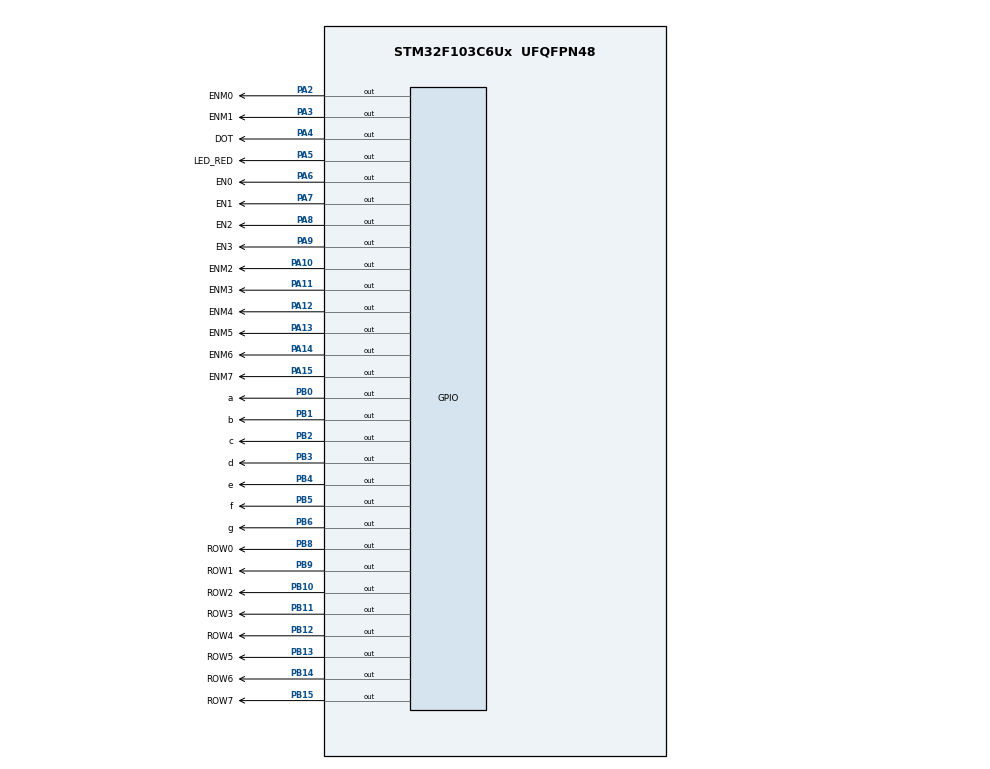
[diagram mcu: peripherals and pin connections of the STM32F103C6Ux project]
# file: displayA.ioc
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Mcu.Family=STM32F1
Mcu.Name=STM32F103C6Ux
Mcu.Package=UFQFPN48
NVIC.PriorityGroup=NVIC_PRIORITYGROUP_4
NVIC.TIM2_IRQn=true\:0\:0\:false\:false\:true\:true\:true
PA10.GPIO_Label=ENM2
PA10.Signal=GPIO_Output
PA11.GPIO_Label=ENM3
PA11.Signal=GPIO_Output
PA12.GPIO_Label=ENM4
PA12.Signal=GPIO_Output
PA13.GPIO_Label=ENM5
PA13.Signal=GPIO_Output
PA14.GPIO_Label=ENM6
PA14.Signal=GPIO_Output
PA15.GPIO_Label=ENM7
PA15.Signal=GPIO_Output
PA2.GPIO_Label=ENM0
PA2.Signal=GPIO_Output
PA3.GPIO_Label=ENM1
PA3.Signal=GPIO_Output
PA4.GPIO_Label=DOT
PA4.Signal=GPIO_Output
PA5.GPIO_Label=LED_RED
PA5.Signal=GPIO_Output
PA6.GPIO_Label=EN0
PA6.Signal=GPIO_Output
PA7.GPIO_Label=EN1
PA7.Signal=GPIO_Output
PA8.GPIO_Label=EN2
PA8.Signal=GPIO_Output
PA9.GPIO_Label=EN3
PA9.Signal=GPIO_Output
PB0.GPIO_Label=a
PB0.Signal=GPIO_Output
PB1.GPIO_Label=b
PB1.Signal=GPIO_Output
PB10.GPIO_Label=ROW2
PB10.Signal=GPIO_Output
PB11.GPIO_Label=ROW3
PB11.Signal=GPIO_Output
PB12.GPIO_Label=ROW4
PB12.Signal=GPIO_Output
PB13.GPIO_Label=ROW5
PB13.Signal=GPIO_Output
PB14.GPIO_Label=ROW6
PB14.Signal=GPIO_Output
PB15.GPIO_Label=ROW7
PB15.Signal=GPIO_Output
PB2.GPIO_Label=c
PB2.Signal=GPIO_Output
PB3.GPIO_Label=d
PB3.Signal=GPIO_Output
PB4.GPIO_Label=e
PB4.Signal=GPIO_Output
PB5.GPIO_Label=f
PB5.Signal=GPIO_Output
PB6.GPIO_Label=g
PB6.Signal=GPIO_Output
PB8.GPIO_Label=ROW0
PB8.Signal=GPIO_Output
PB9.GPIO_Label=ROW1
PB9.Signal=GPIO_Output
ProjectManager.HeapSize=0x200
ProjectManager.StackSize=0x400
ProjectManager.TargetToolchain=STM32CubeIDE
RCC.APB1Freq_Value=8000000
RCC.APB2Freq_Value=8000000
TIM2.Period=9
TIM2.Prescaler=7999
VP_SYS_VS_ND.Mode=No_Debug
VP_TIM2_VS_ClockSourceINT.Mode=Internal
board=custom

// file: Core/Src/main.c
/* USER CODE BEGIN Header */
/**
  ******************************************************************************
  * @file           : main.c
  * @brief          : Main program body
  ******************************************************************************
  * @attention
  *
  * <h2><center>&copy; Copyright (c) 2022 STMicroelectronics.
  * All rights reserved.</center></h2>
  *
  * This software component is licensed by ST under BSD 3-Clause license,
  * the "License"; You may not use this file except in compliance with the
  * License. You may obtain a copy of the License at:
  *                        opensource.org/licenses/BSD-3-Clause
  *
  ******************************************************************************
  */
/* USER CODE END Header */
#include "main.h"

TIM_HandleTypeDef htim2;

void SystemClock_Config(void);
static void MX_GPIO_Init(void);
static void MX_TIM2_Init(void);

/* USER CODE BEGIN 0 */
int hour = 23 , minute = 59 , second = 50;

int timer0_counter = 0;
int timer0_flag = 0;
int TIMER_CYCLE = 10;
void setTimer0(int duration){
	timer0_counter = duration / TIMER_CYCLE ;
	timer0_flag = 0;
}
void timer_run(){
	if(timer0_counter > 0) {
			timer0_counter--;
			if( timer0_counter == 0) timer0_flag = 1;
	}
}

int timer1_counter = 0;
int timer1_flag = 0;

void setTimer1(int duration){
	timer1_counter = duration / TIMER_CYCLE ;
	timer1_flag = 0;
}
void timer_run1(){
	if(timer1_counter > 0) {
			timer1_counter--;
			if( timer1_counter == 0) timer1_flag = 1;
	}
}
/* USER CODE END 0 */

int main(void)
{

  /* MCU Configuration--------------------------------------------------------*/

  /* Reset of all peripherals, Initializes the Flash interface and the Systick. */
  HAL_Init();

  /* Configure the system clock */
  SystemClock_Config();

  /* Initialize all configured peripherals */
  MX_GPIO_Init();
  MX_TIM2_Init();
  /* USER CODE BEGIN 2 */
  HAL_TIM_Base_Start_IT(&htim2);
    void display7segment(int num);
    void update7SEG(int index);
    void updateClockBuffer();
    void updateLEDMatrix(int index);
	void displayLedMatrix(int num);
	void updateMatrixBuffer();
  /* USER CODE END 2 */

  /* Infinite loop */
  /* USER CODE BEGIN WHILE */
    int index_led_matrix = 0;
//    int index_led = 0;
      setTimer0(1000);
      setTimer1(125);
  while (1)
  {
    /* USER CODE END WHILE */

    /* USER CODE BEGIN 3 */
	  if (timer0_flag == 1){
//	  		  HAL_GPIO_TogglePin(DOT_GPIO_Port, DOT_Pin);
//	  		  second++;
//	  		  if (second >= 60){
//	  			  second = 0;
//	  			  minute++;
//	  		   }
//	  		   if(minute >= 60){
//	  			   minute = 0;
//	  			   hour++;
//	  		   }
//	  		   if(hour >= 24){
//	  			   hour = 0;
//	  		   }
	  		  updateMatrixBuffer();
	  		  setTimer0(1000);
	  	  }
	  	  if (timer1_flag == 1){
//	  		  if (index_led >= 4) {
//	  				index_led = 0;
//	  				update7SEG(index_led++);
//	  		  } else {
//	  				update7SEG(index_led++);
//	  			}
	  		  if (index_led_matrix >= 8) {
					index_led_matrix = 0;
					updateLEDMatrix(index_led_matrix++);
			  } else {
					updateLEDMatrix(index_led_matrix++);
				}
	  		  setTimer1(125);
	  	  }
  }
  /* USER CODE END 3 */
}

void SystemClock_Config(void)
{
  RCC_OscInitTypeDef RCC_OscInitStruct = {0};
  RCC_ClkInitTypeDef RCC_ClkInitStruct = {0};

  /** Initializes the RCC Oscillators according to the specified parameters
  * in the RCC_OscInitTypeDef structure.
  */
  RCC_OscInitStruct.OscillatorType = RCC_OSCILLATORTYPE_HSI;
  RCC_OscInitStruct.HSIState = RCC_HSI_ON;
  RCC_OscInitStruct.HSICalibrationValue = RCC_HSICALIBRATION_DEFAULT;
  RCC_OscInitStruct.PLL.PLLState = RCC_PLL_NONE;
  if (HAL_RCC_OscConfig(&RCC_OscInitStruct) != HAL_OK)
  {
    Error_Handler();
  }
  /** Initializes the CPU, AHB and APB buses clocks
  */
  RCC_ClkInitStruct.ClockType = RCC_CLOCKTYPE_HCLK|RCC_CLOCKTYPE_SYSCLK
                              |RCC_CLOCKTYPE_PCLK1|RCC_CLOCKTYPE_PCLK2;
  RCC_ClkInitStruct.SYSCLKSource = RCC_SYSCLKSOURCE_HSI;
  RCC_ClkInitStruct.AHBCLKDivider = RCC_SYSCLK_DIV1;
  RCC_ClkInitStruct.APB1CLKDivider = RCC_HCLK_DIV1;
  RCC_ClkInitStruct.APB2CLKDivider = RCC_HCLK_DIV1;

  if (HAL_RCC_ClockConfig(&RCC_ClkInitStruct, FLASH_LATENCY_0) != HAL_OK)
  {
    Error_Handler();
  }
}

static void MX_TIM2_Init(void)
{

  TIM_ClockConfigTypeDef sClockSourceConfig = {0};
  TIM_MasterConfigTypeDef sMasterConfig = {0};

  htim2.Instance = TIM2;
  htim2.Init.Prescaler = 7999;
  htim2.Init.CounterMode = TIM_COUNTERMODE_UP;
  htim2.Init.Period = 9;
  htim2.Init.ClockDivision = TIM_CLOCKDIVISION_DIV1;
  htim2.Init.AutoReloadPreload = TIM_AUTORELOAD_PRELOAD_DISABLE;
  if (HAL_TIM_Base_Init(&htim2) != HAL_OK)
  {
    Error_Handler();
  }
  sClockSourceConfig.ClockSource = TIM_CLOCKSOURCE_INTERNAL;
  if (HAL_TIM_ConfigClockSource(&htim2, &sClockSourceConfig) != HAL_OK)
  {
    Error_Handler();
  }
  sMasterConfig.MasterOutputTrigger = TIM_TRGO_RESET;
  sMasterConfig.MasterSlaveMode = TIM_MASTERSLAVEMODE_DISABLE;
  if (HAL_TIMEx_MasterConfigSynchronization(&htim2, &sMasterConfig) != HAL_OK)
  {
    Error_Handler();
  }

}

static void MX_GPIO_Init(void)
{
  GPIO_InitTypeDef GPIO_InitStruct = {0};

  /* GPIO Ports Clock Enable */
  __HAL_RCC_GPIOA_CLK_ENABLE();
  __HAL_RCC_GPIOB_CLK_ENABLE();

  /*Configure GPIO pin Output Level */
  HAL_GPIO_WritePin(GPIOA, ENM0_Pin|ENM1_Pin|DOT_Pin|LED_RED_Pin
                          |EN0_Pin|EN1_Pin|EN2_Pin|EN3_Pin
                          |ENM2_Pin|ENM3_Pin|ENM4_Pin|ENM5_Pin
                          |ENM6_Pin|ENM7_Pin, GPIO_PIN_RESET);

  /*Configure GPIO pin Output Level */
  HAL_GPIO_WritePin(GPIOB, a_Pin|b_Pin|c_Pin|ROW2_Pin
                          |ROW3_Pin|ROW4_Pin|ROW5_Pin|ROW6_Pin
                          |ROW7_Pin|d_Pin|e_Pin|f_Pin
                          |g_Pin|ROW0_Pin|ROW1_Pin, GPIO_PIN_RESET);

  /*Configure GPIO pins : ENM0_Pin ENM1_Pin DOT_Pin LED_RED_Pin
                           EN0_Pin EN1_Pin EN2_Pin EN3_Pin
                           ENM2_Pin ENM3_Pin ENM4_Pin ENM5_Pin
                           ENM6_Pin ENM7_Pin */
  GPIO_InitStruct.Pin = ENM0_Pin|ENM1_Pin|DOT_Pin|LED_RED_Pin
                          |EN0_Pin|EN1_Pin|EN2_Pin|EN3_Pin
                          |ENM2_Pin|ENM3_Pin|ENM4_Pin|ENM5_Pin
                          |ENM6_Pin|ENM7_Pin;
  GPIO_InitStruct.Mode = GPIO_MODE_OUTPUT_PP;
  GPIO_InitStruct.Pull = GPIO_NOPULL;
  GPIO_InitStruct.Speed = GPIO_SPEED_FREQ_LOW;
  HAL_GPIO_Init(GPIOA, &GPIO_InitStruct);

  /*Configure GPIO pins : a_Pin b_Pin c_Pin ROW2_Pin
                           ROW3_Pin ROW4_Pin ROW5_Pin ROW6_Pin
                           ROW7_Pin d_Pin e_Pin f_Pin
                           g_Pin ROW0_Pin ROW1_Pin */
  GPIO_InitStruct.Pin = a_Pin|b_Pin|c_Pin|ROW2_Pin
                          |ROW3_Pin|ROW4_Pin|ROW5_Pin|ROW6_Pin
                          |ROW7_Pin|d_Pin|e_Pin|f_Pin
                          |g_Pin|ROW0_Pin|ROW1_Pin;
  GPIO_InitStruct.Mode = GPIO_MODE_OUTPUT_PP;
  GPIO_InitStruct.Pull = GPIO_NOPULL;
  GPIO_InitStruct.Speed = GPIO_SPEED_FREQ_LOW;
  HAL_GPIO_Init(GPIOB, &GPIO_InitStruct);

}

/* USER CODE BEGIN 4 */
int led_buffer[4] = {1,2,3,4};

void display7segment(int num){
	if (num == 0){ /*Implement 0 on 7-segment led*/
		HAL_GPIO_WritePin(a_GPIO_Port, a_Pin, RESET);
		HAL_GPIO_WritePin(b_GPIO_Port, b_Pin, RESET);
		HAL_GPIO_WritePin(c_GPIO_Port, c_Pin, RESET);
		HAL_GPIO_WritePin(d_GPIO_Port, d_Pin, RESET);
		HAL_GPIO_WritePin(e_GPIO_Port, e_Pin, RESET);
		HAL_GPIO_WritePin(f_GPIO_Port, f_Pin, RESET);
		HAL_GPIO_WritePin(g_GPIO_Port, g_Pin, SET);
	}
	if (num == 1){/*Implement 1 on 7-segment led*/
		HAL_GPIO_WritePin(a_GPIO_Port, a_Pin, SET);
		HAL_GPIO_WritePin(b_GPIO_Port, b_Pin, RESET);
		HAL_GPIO_WritePin(c_GPIO_Port, c_Pin, RESET);
		HAL_GPIO_WritePin(d_GPIO_Port, d_Pin, SET);
		HAL_GPIO_WritePin(e_GPIO_Port, e_Pin, SET);
		HAL_GPIO_WritePin(f_GPIO_Port, f_Pin, SET);
		HAL_GPIO_WritePin(g_GPIO_Port, g_Pin, SET);
	}
	if (num == 2){ /*Implement 2 on 7-segment led*/
		HAL_GPIO_WritePin(a_GPIO_Port, a_Pin, RESET);
		HAL_GPIO_WritePin(b_GPIO_Port, b_Pin, RESET);
		HAL_GPIO_WritePin(c_GPIO_Port, c_Pin, SET);
		HAL_GPIO_WritePin(d_GPIO_Port, d_Pin, RESET);
		HAL_GPIO_WritePin(e_GPIO_Port, e_Pin, RESET);
		HAL_GPIO_WritePin(f_GPIO_Port, f_Pin, SET);
		HAL_GPIO_WritePin(g_GPIO_Port, g_Pin, RESET);
	}
	if (num == 3){ /*Implement 3 on 7-segment led*/
		HAL_GPIO_WritePin(a_GPIO_Port, a_Pin, RESET);
		HAL_GPIO_WritePin(b_GPIO_Port, b_Pin, RESET);
		HAL_GPIO_WritePin(c_GPIO_Port, c_Pin, RESET);
		HAL_GPIO_WritePin(d_GPIO_Port, d_Pin, RESET);
		HAL_GPIO_WritePin(e_GPIO_Port, e_Pin, SET);
		HAL_GPIO_WritePin(f_GPIO_Port, f_Pin, SET);
		HAL_GPIO_WritePin(g_GPIO_Port, g_Pin, RESET);
	}
	if (num == 4){ /*Implement 4 on 7-segment led*/
		HAL_GPIO_WritePin(a_GPIO_Port, a_Pin, SET);
		HAL_GPIO_WritePin(b_GPIO_Port, b_Pin, RESET);
		HAL_GPIO_WritePin(c_GPIO_Port, c_Pin, RESET);
		HAL_GPIO_WritePin(d_GPIO_Port, d_Pin, SET);
		HAL_GPIO_WritePin(e_GPIO_Port, e_Pin, SET);
		HAL_GPIO_WritePin(f_GPIO_Port, f_Pin, RESET);
		HAL_GPIO_WritePin(g_GPIO_Port, g_Pin, RESET);
	}
	if (num == 5){ /*Implement 5 on 7-segment led*/
		HAL_GPIO_WritePin(a_GPIO_Port, a_Pin, RESET);
		HAL_GPIO_WritePin(b_GPIO_Port, b_Pin, SET);
		HAL_GPIO_WritePin(c_GPIO_Port, c_Pin, RESET);
		HAL_GPIO_WritePin(d_GPIO_Port, d_Pin, RESET);
		HAL_GPIO_WritePin(e_GPIO_Port, e_Pin, SET);
		HAL_GPIO_WritePin(f_GPIO_Port, f_Pin, RESET);
		HAL_GPIO_WritePin(g_GPIO_Port, g_Pin, RESET);
	}
	if (num == 6){ /*Implement 6 on 7-segment led*/
		HAL_GPIO_WritePin(a_GPIO_Port, a_Pin, RESET);
		HAL_GPIO_WritePin(b_GPIO_Port, b_Pin, SET);
		HAL_GPIO_WritePin(c_GPIO_Port, c_Pin, RESET);
		HAL_GPIO_WritePin(d_GPIO_Port, d_Pin, RESET);
		HAL_GPIO_WritePin(e_GPIO_Port, e_Pin, RESET);
		HAL_GPIO_WritePin(f_GPIO_Port, f_Pin, RESET);
		HAL_GPIO_WritePin(g_GPIO_Port, g_Pin, RESET);
	}
	if (num == 7){ /*Implement 7 on 7-segment led*/
		HAL_GPIO_WritePin(a_GPIO_Port, a_Pin, RESET);
		HAL_GPIO_WritePin(b_GPIO_Port, b_Pin, RESET);
		HAL_GPIO_WritePin(c_GPIO_Port, c_Pin, RESET);
		HAL_GPIO_WritePin(d_GPIO_Port, d_Pin, SET);
		HAL_GPIO_WritePin(e_GPIO_Port, e_Pin, SET);
		HAL_GPIO_WritePin(f_GPIO_Port, f_Pin, SET);
		HAL_GPIO_WritePin(g_GPIO_Port, g_Pin, SET);
	}
	if (num == 8){ /*Implement 8 on 7-segment led*/
		HAL_GPIO_WritePin(a_GPIO_Port, a_Pin, RESET);
		HAL_GPIO_WritePin(b_GPIO_Port, b_Pin, RESET);
		HAL_GPIO_WritePin(c_GPIO_Port, c_Pin, RESET);
		HAL_GPIO_WritePin(d_GPIO_Port, d_Pin, RESET);
		HAL_GPIO_WritePin(e_GPIO_Port, e_Pin, RESET);
		HAL_GPIO_WritePin(f_GPIO_Port, f_Pin, RESET);
		HAL_GPIO_WritePin(g_GPIO_Port, g_Pin, RESET);
	}
	if (num == 9){ /*Implement 9 on 7-segment led*/
		HAL_GPIO_WritePin(a_GPIO_Port, a_Pin, RESET);
		HAL_GPIO_WritePin(b_GPIO_Port, b_Pin, RESET);
		HAL_GPIO_WritePin(c_GPIO_Port, c_Pin, RESET);
		HAL_GPIO_WritePin(d_GPIO_Port, d_Pin, RESET);
		HAL_GPIO_WritePin(e_GPIO_Port, e_Pin, SET);
		HAL_GPIO_WritePin(f_GPIO_Port, f_Pin, RESET);
		HAL_GPIO_WritePin(g_GPIO_Port, g_Pin, RESET);
	}
}

void update7SEG(int index){
 switch (index){
 	 case 0:
 		 // Display the first 7 SEG with led_buffer [0]
 		HAL_GPIO_WritePin(EN0_GPIO_Port, EN0_Pin, RESET);
 		HAL_GPIO_WritePin(EN1_GPIO_Port, EN1_Pin, SET);
 		HAL_GPIO_WritePin(EN2_GPIO_Port, EN2_Pin, SET);
 		HAL_GPIO_WritePin(EN3_GPIO_Port, EN3_Pin, SET);
 		display7segment(led_buffer[0]);
 		 break;
 	 case 1:
 		 // Display the second 7 SEG with led_buffer [1]
 		HAL_GPIO_WritePin(EN0_GPIO_Port, EN0_Pin, SET);
 		HAL_GPIO_WritePin(EN1_GPIO_Port, EN1_Pin, RESET);
		HAL_GPIO_WritePin(EN2_GPIO_Port, EN2_Pin, SET);
 		HAL_GPIO_WritePin(EN3_GPIO_Port, EN3_Pin, SET);
 		display7segment(led_buffer[1]);
 		 break;
 	 case 2:
 		 // Display the third 7 SEG with led_buffer [2]
 		HAL_GPIO_WritePin(EN0_GPIO_Port, EN0_Pin, SET);
 		HAL_GPIO_WritePin(EN1_GPIO_Port, EN1_Pin, SET);
 		HAL_GPIO_WritePin(EN2_GPIO_Port, EN2_Pin, RESET);
		HAL_GPIO_WritePin(EN3_GPIO_Port, EN3_Pin, SET);
 		display7segment(led_buffer[2]);
 		 break;
 	 case 3:
 		 // Display the forth 7 SEG with led_buffer [3]
 		HAL_GPIO_WritePin(EN0_GPIO_Port, EN0_Pin, SET);
 		HAL_GPIO_WritePin(EN1_GPIO_Port, EN1_Pin, SET);
 		HAL_GPIO_WritePin(EN2_GPIO_Port, EN2_Pin, SET);
 		HAL_GPIO_WritePin(EN3_GPIO_Port, EN3_Pin, RESET);
 		display7segment(led_buffer[3]);
 		 break;
 	 default:
 		 break;
 }
}

void updateClockBuffer(){
	if (hour < 10){
		led_buffer[0] = 0;
		led_buffer[1] = hour;
	} else {
		led_buffer[0] = hour / 10;
		led_buffer[1] = hour % 10;
	}
	if (minute < 10){
		led_buffer[2] = 0;
		led_buffer[3] = minute;
	} else {
		led_buffer[2] = minute / 10;
		led_buffer[3] = minute % 10;
	}
}

uint8_t matrix_buffer[8] = {0x18,0x24,0x42,0x42,0x7E,0x42,0x42,0x42 };

void updateMatrixBuffer(){
	uint8_t temp = matrix_buffer[0];
	matrix_buffer[0] = matrix_buffer[1];
	matrix_buffer[1] = matrix_buffer[2];
	matrix_buffer[2] = matrix_buffer[3];
	matrix_buffer[3] = matrix_buffer[4];
	matrix_buffer[4] = matrix_buffer[5];
	matrix_buffer[5] = matrix_buffer[6];
	matrix_buffer[6] = matrix_buffer[7];
	matrix_buffer[7] = temp;
}

void displayLedMatrix(int num) {
	int bit_var, var2;

	var2 = ~matrix_buffer[num];
	bit_var = var2 & 0x01;
	HAL_GPIO_WritePin(ENM0_GPIO_Port, ENM0_Pin, bit_var);

	bit_var = (var2>>1) & 0x01;
	HAL_GPIO_WritePin(ENM1_GPIO_Port, ENM1_Pin, bit_var);

	bit_var = (var2>>2) & 0x01;
	HAL_GPIO_WritePin(ENM2_GPIO_Port, ENM2_Pin, bit_var);

	bit_var = (var2>>3) & 0x01;
	HAL_GPIO_WritePin(ENM3_GPIO_Port, ENM3_Pin, bit_var);

	bit_var = (var2>>4) & 0x01;
	HAL_GPIO_WritePin(ENM4_GPIO_Port, ENM4_Pin, bit_var);

	bit_var = (var2>>5) & 0x01;
	HAL_GPIO_WritePin(ENM5_GPIO_Port, ENM5_Pin, bit_var);

	bit_var = (var2>>6) & 0x01;
	HAL_GPIO_WritePin(ENM6_GPIO_Port, ENM6_Pin, bit_var);

	bit_var = (var2>>7) & 0x01;
		HAL_GPIO_WritePin(ENM7_GPIO_Port, ENM7_Pin, bit_var);
}

const int MAX_LED_MATRIX = 8;
void updateLEDMatrix(int index){
	switch (index) {
	case 0:
		HAL_GPIO_WritePin(ROW0_GPIO_Port, ROW0_Pin, 0);
		HAL_GPIO_WritePin(ROW1_GPIO_Port, ROW1_Pin, 1);
		HAL_GPIO_WritePin(ROW2_GPIO_Port, ROW2_Pin, 1);
		HAL_GPIO_WritePin(ROW3_GPIO_Port, ROW3_Pin, 1);
		HAL_GPIO_WritePin(ROW4_GPIO_Port, ROW4_Pin, 1);
		HAL_GPIO_WritePin(ROW5_GPIO_Port, ROW5_Pin, 1);
		HAL_GPIO_WritePin(ROW6_GPIO_Port, ROW6_Pin, 1);
		HAL_GPIO_WritePin(ROW7_GPIO_Port, ROW7_Pin, 1);
		displayLedMatrix(index);
		break;
	case 1:
		HAL_GPIO_WritePin(ROW0_GPIO_Port, ROW0_Pin, 1);
		HAL_GPIO_WritePin(ROW1_GPIO_Port, ROW1_Pin, 0);
		HAL_GPIO_WritePin(ROW2_GPIO_Port, ROW2_Pin, 1);
		HAL_GPIO_WritePin(ROW3_GPIO_Port, ROW3_Pin, 1);
		HAL_GPIO_WritePin(ROW4_GPIO_Port, ROW4_Pin, 1);
		HAL_GPIO_WritePin(ROW5_GPIO_Port, ROW5_Pin, 1);
		HAL_GPIO_WritePin(ROW6_GPIO_Port, ROW6_Pin, 1);
		HAL_GPIO_WritePin(ROW7_GPIO_Port, ROW7_Pin, 1);
		displayLedMatrix(index);
		break;
	case 2:
		HAL_GPIO_WritePin(ROW0_GPIO_Port, ROW0_Pin, 1);
		HAL_GPIO_WritePin(ROW1_GPIO_Port, ROW1_Pin, 1);
		HAL_GPIO_WritePin(ROW2_GPIO_Port, ROW2_Pin, 0);
		HAL_GPIO_WritePin(ROW3_GPIO_Port, ROW3_Pin, 1);
		HAL_GPIO_WritePin(ROW4_GPIO_Port, ROW4_Pin, 1);
		HAL_GPIO_WritePin(ROW5_GPIO_Port, ROW5_Pin, 1);
		HAL_GPIO_WritePin(ROW6_GPIO_Port, ROW6_Pin, 1);
		HAL_GPIO_WritePin(ROW7_GPIO_Port, ROW7_Pin, 1);
		displayLedMatrix(index);
		break;
	case 3:
		HAL_GPIO_WritePin(ROW0_GPIO_Port, ROW0_Pin, 1);
		HAL_GPIO_WritePin(ROW1_GPIO_Port, ROW1_Pin, 1);
		HAL_GPIO_WritePin(ROW2_GPIO_Port, ROW2_Pin, 1);
		HAL_GPIO_WritePin(ROW3_GPIO_Port, ROW3_Pin, 0);
		HAL_GPIO_WritePin(ROW4_GPIO_Port, ROW4_Pin, 1);
		HAL_GPIO_WritePin(ROW5_GPIO_Port, ROW5_Pin, 1);
		HAL_GPIO_WritePin(ROW6_GPIO_Port, ROW6_Pin, 1);
		HAL_GPIO_WritePin(ROW7_GPIO_Port, ROW7_Pin, 1);
		displayLedMatrix(index);
		break;
	case 4:
		HAL_GPIO_WritePin(ROW0_GPIO_Port, ROW0_Pin, 1);
		HAL_GPIO_WritePin(ROW1_GPIO_Port, ROW1_Pin, 1);
		HAL_GPIO_WritePin(ROW2_GPIO_Port, ROW2_Pin, 1);
		HAL_GPIO_WritePin(ROW3_GPIO_Port, ROW3_Pin, 1);
		HAL_GPIO_WritePin(ROW4_GPIO_Port, ROW4_Pin, 0);
		HAL_GPIO_WritePin(ROW5_GPIO_Port, ROW5_Pin, 1);
		HAL_GPIO_WritePin(ROW6_GPIO_Port, ROW6_Pin, 1);
		HAL_GPIO_WritePin(ROW7_GPIO_Port, ROW7_Pin, 1);
		displayLedMatrix(index);
		break;
	case 5:
		HAL_GPIO_WritePin(ROW0_GPIO_Port, ROW0_Pin, 1);
		HAL_GPIO_WritePin(ROW1_GPIO_Port, ROW1_Pin, 1);
		HAL_GPIO_WritePin(ROW2_GPIO_Port, ROW2_Pin, 1);
		HAL_GPIO_WritePin(ROW3_GPIO_Port, ROW3_Pin, 1);
		HAL_GPIO_WritePin(ROW4_GPIO_Port, ROW4_Pin, 1);
		HAL_GPIO_WritePin(ROW5_GPIO_Port, ROW5_Pin, 0);
		HAL_GPIO_WritePin(ROW6_GPIO_Port, ROW6_Pin, 1);
		HAL_GPIO_WritePin(ROW7_GPIO_Port, ROW7_Pin, 1);
		displayLedMatrix(index);
		break;
	case 6:
		HAL_GPIO_WritePin(ROW0_GPIO_Port, ROW0_Pin, 1);
		HAL_GPIO_WritePin(ROW1_GPIO_Port, ROW1_Pin, 1);
		HAL_GPIO_WritePin(ROW2_GPIO_Port, ROW2_Pin, 1);
		HAL_GPIO_WritePin(ROW3_GPIO_Port, ROW3_Pin, 1);
		HAL_GPIO_WritePin(ROW4_GPIO_Port, ROW4_Pin, 1);
		HAL_GPIO_WritePin(ROW5_GPIO_Port, ROW5_Pin, 1);
		HAL_GPIO_WritePin(ROW6_GPIO_Port, ROW6_Pin, 0);
		HAL_GPIO_WritePin(ROW7_GPIO_Port, ROW7_Pin, 1);
		displayLedMatrix(index);
		break;
	case 7:
		HAL_GPIO_WritePin(ROW0_GPIO_Port, ROW0_Pin, 1);
		HAL_GPIO_WritePin(ROW1_GPIO_Port, ROW1_Pin, 1);
		HAL_GPIO_WritePin(ROW2_GPIO_Port, ROW2_Pin, 1);
		HAL_GPIO_WritePin(ROW3_GPIO_Port, ROW3_Pin, 1);
		HAL_GPIO_WritePin(ROW4_GPIO_Port, ROW4_Pin, 1);
		HAL_GPIO_WritePin(ROW5_GPIO_Port, ROW5_Pin, 1);
		HAL_GPIO_WritePin(ROW6_GPIO_Port, ROW6_Pin, 1);
		HAL_GPIO_WritePin(ROW7_GPIO_Port, ROW7_Pin, 0);
		displayLedMatrix(index);
		break;
	default:
		break;
	}
}
void HAL_TIM_PeriodElapsedCallback(TIM_HandleTypeDef*htim){
	timer_run();
	timer_run1();
}

/* USER CODE END 4 */

void Error_Handler(void)
{
  __disable_irq();
  while (1)
  {
  }
}

/************************ (C) COPYRIGHT STMicroelectronics *****END OF FILE****/
